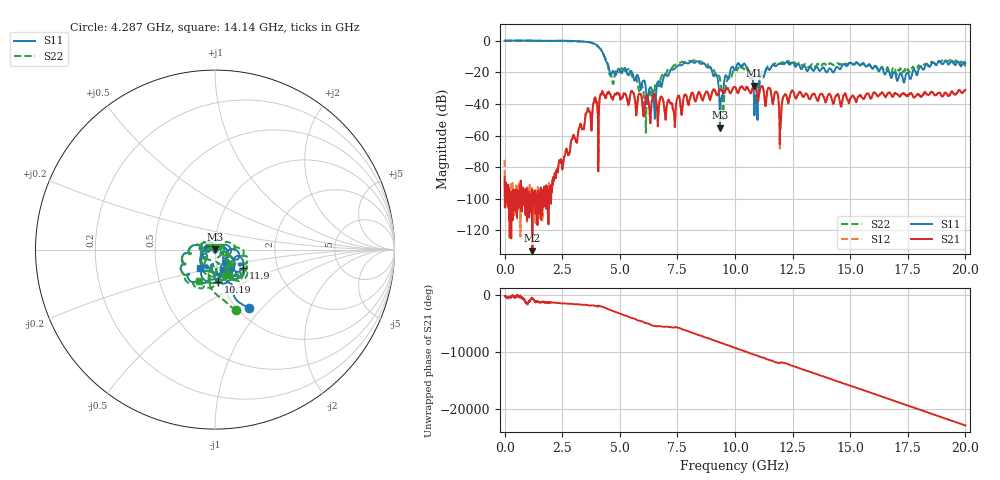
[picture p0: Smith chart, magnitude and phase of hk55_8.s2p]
#  HZ  S  RI  R  50.00
! Rohde & Schwarz Vector Network Analyzer
! Rohde-Schwarz,ZNB20-2Port,1311601062102128,3.60
! Created: UTC 4/29/2024, 3:44:46 PM
! freq[Hz]  re:S11  im:S11  re:S21  im:S21  re:S12  im:S12  re:S22  im:S22
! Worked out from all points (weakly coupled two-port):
!   2007 points, 100 kHz to 20 GHz, reference 50 ohm
!   highest |S21| = -28.49 dB at 10.83 GHz (marker M1); lowest = -132.7 dB at 1.206 GHz (marker M2)
!   lowest |S11| = -54.9 dB at 9.342 GHz (marker M3), VSWR 1.00, Z = 50.1 + j0.145 ohm
!   |S11| at or under -10 dB: 4.327 GHz to end of sweep
!   |S22| runs from -58.3 to 0.1 dB; largest |S21 - S12| = 0.0021
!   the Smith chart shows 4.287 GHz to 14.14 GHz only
!   S11 on the Smith chart (normalised r, x): 4.287 GHz: 1.13, -0.86; 10.19 GHz: 0.97, -0.36; 11.9 GHz: 1.34, -0.28; 14.14 GHz: 0.83, -0.17
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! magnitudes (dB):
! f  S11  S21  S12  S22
! 100 kHz  0.0  -86.2  -75.3  0.1
! 1.206 GHz  0.0  -132.7  -102.5  -0.1
! 2.243 GHz  0.0  -82.2  -82.5  -0.3
! 3.34 GHz  -0.6  -55.4  -55.1  -0.6
! 4.287 GHz  -8.5  -33.3  -33.4  -8.9
! 4.656 GHz  -20.2  -35.6  -35.6  -23.6
! 5.653 GHz  -25.1  -37.0  -36.9  -21.6
! 6.132 GHz  -30.6  -35.4  -35.4  -58.3
! 6.67 GHz  -25.8  -46.7  -46.9  -28.0
! 8.375 GHz  -13.1  -34.3  -34.3  -13.5
! 9.173 GHz  -21.3  -33.3  -33.3  -22.5
! 9.342 GHz  -54.9  -30.8  -30.8  -23.7
! 9.502 GHz  -29.1  -33.0  -33.0  -42.4
! 10 GHz  -18.6  -29.3  -29.3  -17.5
! 10.19 GHz  -15.0  -30.8  -30.7  -16.1
! 10.83 GHz  -38.6  -28.5  -28.5  -28.3
! 11.79 GHz  -15.9  -32.3  -32.3  -14.7
! 11.9 GHz  -14.6  -40.7  -40.7  -14.4
! 13.34 GHz  -17.9  -34.7  -34.6  -15.0
! 14.14 GHz  -17.6  -34.2  -34.3  -14.3
! 16.67 GHz  -19.1  -32.9  -33.0  -18.9
! 20 GHz  -14.5  -31.1  -31.2  -15.2
